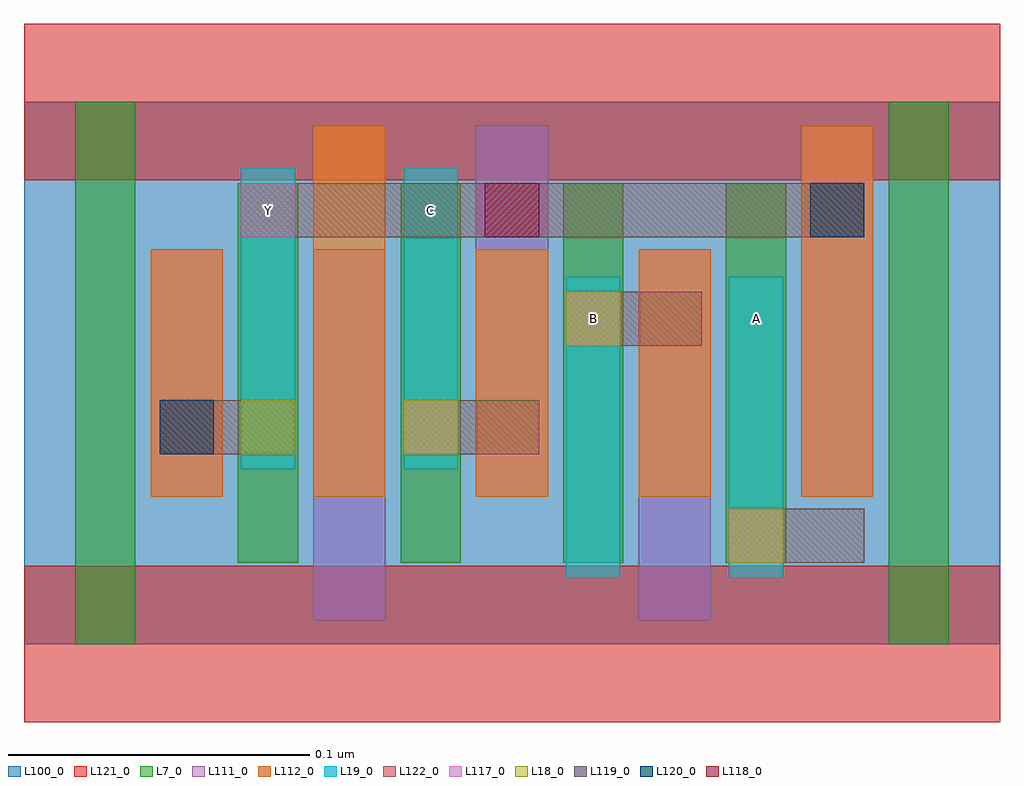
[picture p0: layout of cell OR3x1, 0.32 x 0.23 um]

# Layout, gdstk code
import gdstk
lib = gdstk.Library(unit=1e-6, precision=2.5e-10)
def R(c, l, rs):  # rectangles x0, y0, x1, y1
    for r in rs: c.add(gdstk.rectangle(r[:2], r[2:], *l))
def A(c, l, x, y, w, h, nx, ny, dx, dy):  # array of equal rectangles
    R(c, l, [(x+i*dx, y+j*dy, x+i*dx+w, y+j*dy+h) for i in range(nx) for j in range(ny)])
L7_0 = (7, 0)
L18_0 = (18, 0)
L19_0 = (19, 0)
L100_0 = (100, 0)
L111_0 = (111, 0)
L112_0 = (112, 0)
L117_0 = (117, 0)
L118_0 = (118, 0)
L119_0 = (119, 0)
L120_0 = (120, 0)
L121_0 = (121, 0)
L122_0 = (122, 0)

or3x1 = lib.new_cell('OR3x1')
A(or3x1, L7_0, 0.071, 0.027, 0.02, 0.126, 4, 1, 0.054, 0)
R(or3x1, L7_0, [(0.017,0,0.037,0.18), (0.287,0,0.307,0.18)])
R(or3x1, L18_0, [(0.234,0.027,0.252,0.045), (0.072,0.063,0.09,0.081), (0.126,0.063,0.144,0.081), (0.18,0.099,0.198,0.117)])
R(or3x1, L19_0, [(0.18,0.022,0.198,0.122), (0.234,0.022,0.252,0.122), (0.072,0.058,0.09,0.158), (0.126,0.058,0.144,0.158)])
R(or3x1, L100_0, [(0,0,0.324,0.18)])
R(or3x1, L111_0, [(0.096,0.008,0.12,0.131), (0.204,0.008,0.228,0.131), (0.042,0.049,0.066,0.131), (0.15,0.049,0.174,0.172), (0.258,0.049,0.282,0.172)])
R(or3x1, L112_0, [(0.042,0.049,0.066,0.131), (0.096,0.049,0.12,0.172), (0.15,0.049,0.174,0.131), (0.204,0.049,0.228,0.131), (0.258,0.049,0.282,0.172)])
R(or3x1, L117_0, [(0.234,0.027,0.252,0.045), (0.126,0.063,0.144,0.081), (0.18,0.099,0.198,0.117), (0.072,0.135,0.09,0.153)])
R(or3x1, L118_0, [(0.153,0.135,0.171,0.153)])
R(or3x1, L119_0, [(0.045,0.063,0.063,0.081), (0.261,0.135,0.279,0.153)])
R(or3x1, L120_0, [(0.045,0.063,0.063,0.081), (0.261,0.135,0.279,0.153)])
R(or3x1, L121_0, [(0,-0.026,0.324,0.026), (0,0.154,0.324,0.206)])
R(or3x1, L122_0, [(0.234,0.027,0.279,0.045), (0.045,0.063,0.09,0.081), (0.126,0.063,0.171,0.081), (0.18,0.099,0.225,0.117), (0.072,0.135,0.279,0.153)])
or3x1.add(gdstk.Label('Y', (0.081,0.144), layer=19, texttype=251))
or3x1.add(gdstk.Label('C', (0.135,0.144), layer=19, texttype=251))
or3x1.add(gdstk.Label('B', (0.189,0.108), layer=19, texttype=251))
or3x1.add(gdstk.Label('A', (0.243,0.108), layer=19, texttype=251))

lib.write_gds('OR3x1.gds')
